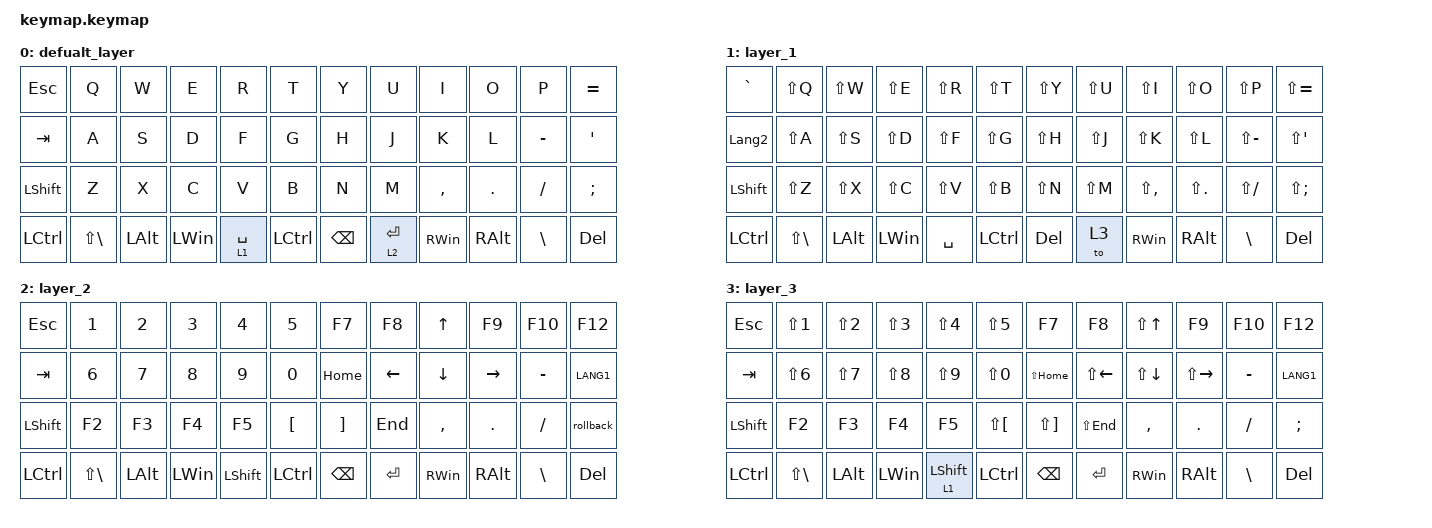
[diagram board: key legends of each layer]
#include <behaviors.dtsi>
#include <dt-bindings/zmk/keys.h>

/ {
    macros {
        rollback: rollback {
            compatible = "zmk,behavior-macro";
            #binding-cells = <0>;
            bindings = <&kp ENTER &kp ENTER &kp LANGUAGE_2 &kp R &kp O &kp L &kp L &kp B &kp A &kp C &kp K &kp ENTER &kp MINUS &kp MINUS &kp C &kp O &kp M &kp M &kp I &kp T &kp ENTER &kp ENTER>;
            label = "ROLLBACK";
        };
    };

    keymap {
        compatible = "zmk,keymap";

        defualt_layer {
            bindings = <
&kp ESC     &kp Q              &kp W         &kp E         &kp R        &kp T      &kp Y          &kp U        &kp I          &kp O          &kp P          &kp EQUAL
&kp TAB     &kp A              &kp S         &kp D         &kp F        &kp G      &kp H          &kp J        &kp K          &kp L          &kp MINUS      &kp SINGLE_QUOTE
&kp LSHIFT  &kp Z              &kp X         &kp C         &kp V        &kp B      &kp N          &kp M        &kp COMMA      &kp PERIOD     &kp SLASH      &kp SEMICOLON
&kp LCTRL   &kp LS(BACKSLASH)  &kp LEFT_ALT  &kp LEFT_WIN  &lt 1 SPACE  &kp LCTRL  &kp BACKSPACE  &lt 2 ENTER  &kp RIGHT_WIN  &kp RIGHT_ALT  &kp BACKSLASH  &kp DEL
            >;
        };

        layer_1 {
            bindings = <
&kp GRAVE       &kp LS(Q)          &kp LS(W)     &kp LS(E)     &kp LS(R)  &kp LS(T)  &kp LS(Y)  &kp LS(U)  &kp LS(I)      &kp LS(O)       &kp LS(P)      &kp LS(EQUAL)
&kp LANGUAGE_2  &kp LS(A)          &kp LS(S)     &kp LS(D)     &kp LS(F)  &kp LS(G)  &kp LS(H)  &kp LS(J)  &kp LS(K)      &kp LS(L)       &kp LS(MINUS)  &kp LS(SINGLE_QUOTE)
&kp LSHIFT      &kp LS(Z)          &kp LS(X)     &kp LS(C)     &kp LS(V)  &kp LS(B)  &kp LS(N)  &kp LS(M)  &kp LS(COMMA)  &kp LS(PERIOD)  &kp LS(SLASH)  &kp LS(SEMICOLON)
&kp LCTRL       &kp LS(BACKSLASH)  &kp LEFT_ALT  &kp LEFT_WIN  &kp SPACE  &kp LCTRL  &kp DEL    &to 3      &kp RIGHT_WIN  &kp RIGHT_ALT   &kp BACKSLASH  &kp DEL
            >;
        };

        layer_2 {
            bindings = <
&kp ESC     &kp NUMBER_1       &kp NUMBER_2  &kp NUMBER_3  &kp NUMBER_4    &kp NUMBER_5      &kp F7             &kp F8          &kp UP_ARROW    &kp F9           &kp F10        &kp F12
&kp TAB     &kp NUMBER_6       &kp NUMBER_7  &kp NUMBER_8  &kp NUMBER_9    &kp NUMBER_0      &kp HOME           &kp LEFT_ARROW  &kp DOWN_ARROW  &kp RIGHT_ARROW  &kp MINUS      &kp LANG1
&kp LSHIFT  &kp F2             &kp F3        &kp F4        &kp F5          &kp LEFT_BRACKET  &kp RIGHT_BRACKET  &kp END         &kp COMMA       &kp PERIOD       &kp SLASH      &rollback
&kp LCTRL   &kp LS(BACKSLASH)  &kp LEFT_ALT  &kp LEFT_WIN  &kp LEFT_SHIFT  &kp LCTRL         &kp BACKSPACE      &kp ENTER       &kp RIGHT_WIN   &kp RIGHT_ALT    &kp BACKSLASH  &kp DEL
            >;
        };

        layer_3 {
            bindings = <
&kp ESC     &kp LS(NUMBER_1)   &kp LS(NUMBER_2)  &kp LS(NUMBER_3)  &kp LS(NUMBER_4)  &kp LS(NUMBER_5)      &kp F7                 &kp F8              &kp LS(UP_ARROW)    &kp F9               &kp F10        &kp F12
&kp TAB     &kp LS(NUMBER_6)   &kp LS(NUMBER_7)  &kp LS(NUMBER_8)  &kp LS(NUMBER_9)  &kp LS(NUMBER_0)      &kp LS(HOME)           &kp LS(LEFT_ARROW)  &kp LS(DOWN_ARROW)  &kp LS(RIGHT_ARROW)  &kp MINUS      &kp LANG1
&kp LSHIFT  &kp F2             &kp F3            &kp F4            &kp F5            &kp LS(LEFT_BRACKET)  &kp LS(RIGHT_BRACKET)  &kp LS(END)         &kp COMMA           &kp PERIOD           &kp SLASH      &kp SEMICOLON
&kp LCTRL   &kp LS(BACKSLASH)  &kp LEFT_ALT      &kp LEFT_WIN      &lt 1 LEFT_SHIFT  &kp LCTRL             &kp BACKSPACE          &kp ENTER           &kp RIGHT_WIN       &kp RIGHT_ALT        &kp BACKSLASH  &kp DEL
            >;
        };
    };
};
